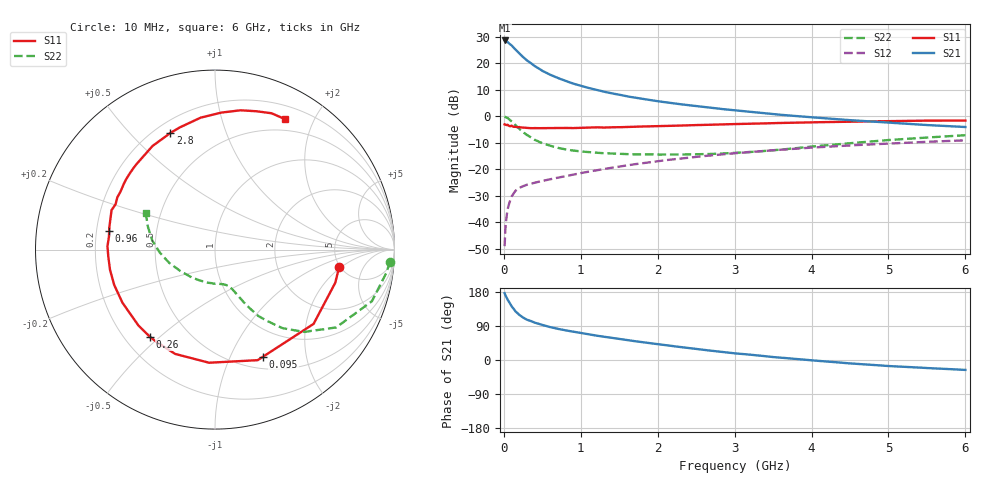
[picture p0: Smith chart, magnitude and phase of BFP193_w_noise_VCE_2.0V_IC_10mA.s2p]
! Infineon Technologies  Discrete & RF Semiconductors
! BFP193
! VCE = 2.0 V,  IC =  10 mA
! Common Emitter S-Parameters:  Jan 2016
# GHz  S  MA  R  50
!  f  S11  S21  S12  S22
! GHz  MAG  ANG  MAG  ANG  MAG  ANG  MAG  ANG
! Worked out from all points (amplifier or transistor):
!   210 points, 10 MHz to 6 GHz, reference 50 ohm
!   highest |S21| = 28.6 dB at 10 MHz (marker M1)
!   |S21| within 3 dB of that: start of sweep to 136.5 MHz
!   unconditionally stable (mu >= 1): 982.6 MHz to 3.72 GHz
!   at 185 MHz: K = 0.33, MSG = 25.8 dB, |S12| = -27.5 dB
!   at 1.52 GHz: K = 1.10, MAG = 11.6 dB, |S12| = -19.0 dB
!   at 6 GHz: K = 0.92, MSG = 2.5 dB, |S12| = -9.1 dB
!   lowest NFmin = 1.30 dB at 450 MHz
!   S11 on the Smith chart (normalised r, x): 10 MHz: 4.88, -1.88; 95 MHz: 0.64, -1.34; 260 MHz: 0.30, -0.46; 960 MHz: 0.25, +0.08; 2.8 GHz: 0.26, +0.66; 6 GHz: 0.35, +1.61
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0.01  0.6984 -8.1  26.87 176.3  0.0035 88.9  0.9764 -3.9
0.02  0.6951 -15.4  26.31 170.8  0.0074 84.9  0.9652 -7.4
0.05  0.6877 -37.0  25.05 158.7  0.0176 73.0  0.9203 -18.2
0.095  0.6537 -65.7  21.99 143.7  0.0289 61.4  0.8109 -31.2
0.1  0.6603 -68.9  21.76 141.8  0.0302 60.7  0.8017 -32.8
0.15  0.6312 -93.0  18.16 128.3  0.0387 51.9  0.6764 -42.7
0.2  0.6222 -110.9  15.37 119.1  0.0439 47.2  0.5773 -49.3
0.26  0.6062 -126.7  12.68 110.9  0.0482 43.4  0.4863 -54.2
0.3  0.6007 -135.2  11.29 106.4  0.0506 42.5  0.4412 -56.9
0.4  0.5945 -150.1  8.854 98.6  0.0552 41.6  0.3579 -60.4
0.5  0.5951 -160.6  7.184 92.3  0.0597 41.9  0.308 -62.5
0.6  0.5957 -169.1  6.076 86.9  0.0643 43.0  0.275 -64.0
0.7  0.5957 -176.2  5.269 82.2  0.0686 44.7  0.252 -65.4
0.96  0.5986 170.0  3.888 72.6  0.0819 46.4  0.2189 -68.9
1.02  0.6026 167.1  3.669 70.5  0.085 46.8  0.2144 -69.9
1.4  0.6173 151.8  2.695 58.6  0.1057 48.2  0.1976 -77.8
2.02  0.6473 131.9  1.896 41.3  0.1422 46.3  0.188 -95.1
2.8  0.6959 110.9  1.381 22.1  0.1874 40.7  0.1958 -122.8
3.1  0.7127 104.1  1.243 15.9  0.2045 38.0  0.2055 -134.2
4.1  0.7681 85.7  0.928 -2.5  0.2594 28.1  0.2737 -167.0
5.1  0.8073 72.2  0.74 -16.9  0.3081 17.6  0.3609 169.3
6  0.8249 61.9  0.623 -26.2  0.3493 7.8  0.4364 152.2
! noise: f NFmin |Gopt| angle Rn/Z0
0.45  1.3  0.22  143  0.11
0.9  1.3  0.34  160  0.11
1.8  2.05  0.54  -153  0.14
